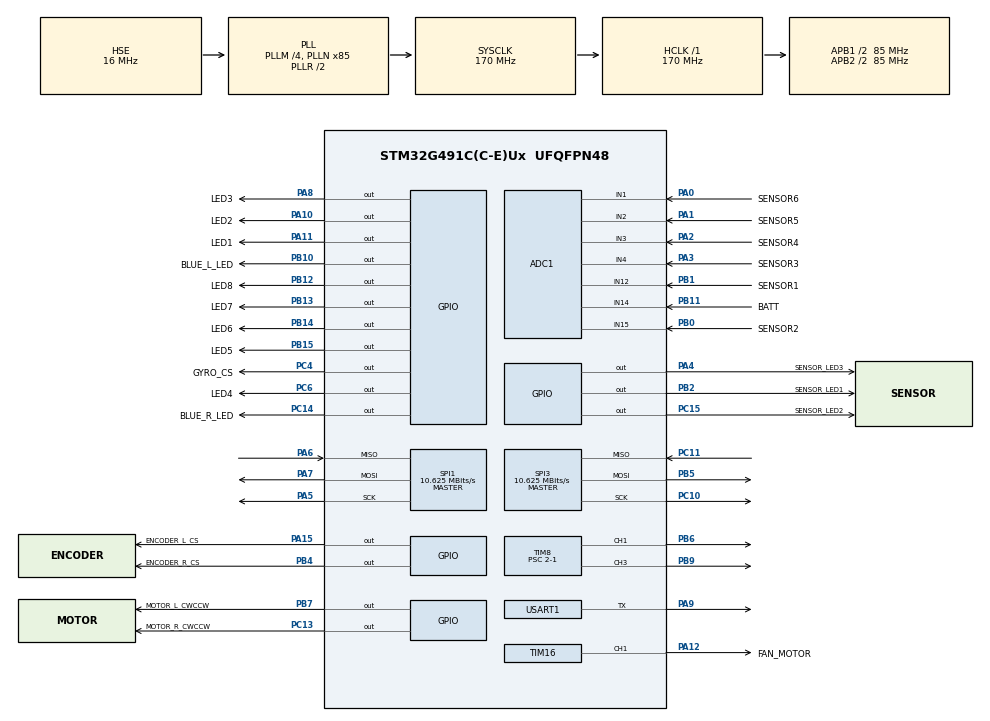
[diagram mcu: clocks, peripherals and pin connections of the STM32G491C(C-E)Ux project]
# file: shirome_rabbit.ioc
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ADC1.Channel-0\#ChannelRegularConversion=ADC_CHANNEL_14
ADC1.Channel-1\#ChannelRegularConversion=ADC_CHANNEL_12
ADC1.Channel-2\#ChannelRegularConversion=ADC_CHANNEL_15
ADC1.Channel-3\#ChannelRegularConversion=ADC_CHANNEL_4
ADC1.Channel-4\#ChannelRegularConversion=ADC_CHANNEL_3
ADC1.Channel-5\#ChannelRegularConversion=ADC_CHANNEL_2
ADC1.Channel-6\#ChannelRegularConversion=ADC_CHANNEL_1
ADC1.ClockPrescaler=ADC_CLOCK_SYNC_PCLK_DIV4
ADC1.ContinuousConvMode=ENABLE
ADC1.DMAContinuousRequests=ENABLE
ADC1.NbrOfConversion=7
ADC1.NbrOfConversionFlag=1
ADC1.OffsetNumber-0\#ChannelRegularConversion=ADC_OFFSET_NONE
ADC1.OffsetNumber-1\#ChannelRegularConversion=ADC_OFFSET_NONE
ADC1.OffsetNumber-2\#ChannelRegularConversion=ADC_OFFSET_NONE
ADC1.OffsetNumber-3\#ChannelRegularConversion=ADC_OFFSET_NONE
ADC1.OffsetNumber-4\#ChannelRegularConversion=ADC_OFFSET_NONE
ADC1.OffsetNumber-5\#ChannelRegularConversion=ADC_OFFSET_NONE
ADC1.OffsetNumber-6\#ChannelRegularConversion=ADC_OFFSET_NONE
ADC1.Rank-0\#ChannelRegularConversion=1
ADC1.Rank-1\#ChannelRegularConversion=2
ADC1.Rank-2\#ChannelRegularConversion=3
ADC1.Rank-3\#ChannelRegularConversion=4
ADC1.Rank-4\#ChannelRegularConversion=5
ADC1.Rank-5\#ChannelRegularConversion=6
ADC1.Rank-6\#ChannelRegularConversion=7
ADC1.SamplingTime-0\#ChannelRegularConversion=ADC_SAMPLETIME_6CYCLES_5
ADC1.SamplingTime-1\#ChannelRegularConversion=ADC_SAMPLETIME_6CYCLES_5
ADC1.SamplingTime-2\#ChannelRegularConversion=ADC_SAMPLETIME_6CYCLES_5
ADC1.SamplingTime-3\#ChannelRegularConversion=ADC_SAMPLETIME_6CYCLES_5
ADC1.SamplingTime-4\#ChannelRegularConversion=ADC_SAMPLETIME_6CYCLES_5
ADC1.SamplingTime-5\#ChannelRegularConversion=ADC_SAMPLETIME_6CYCLES_5
ADC1.SamplingTime-6\#ChannelRegularConversion=ADC_SAMPLETIME_6CYCLES_5
ADC1.master=1
Dma.ADC1.0.Direction=DMA_PERIPH_TO_MEMORY
Dma.ADC1.0.EventEnable=DISABLE
Dma.ADC1.0.Instance=DMA1_Channel1
Dma.ADC1.0.MemDataAlignment=DMA_MDATAALIGN_HALFWORD
Dma.ADC1.0.MemInc=DMA_MINC_ENABLE
Dma.ADC1.0.Mode=DMA_CIRCULAR
Dma.ADC1.0.PeriphDataAlignment=DMA_PDATAALIGN_HALFWORD
Dma.ADC1.0.PeriphInc=DMA_PINC_DISABLE
Dma.ADC1.0.Polarity=HAL_DMAMUX_REQ_GEN_RISING
Dma.ADC1.0.Priority=DMA_PRIORITY_HIGH
Dma.ADC1.0.RequestNumber=1
Dma.ADC1.0.SignalID=NONE
Dma.ADC1.0.SyncEnable=DISABLE
Dma.ADC1.0.SyncPolarity=HAL_DMAMUX_SYNC_NO_EVENT
Dma.ADC1.0.SyncRequestNumber=1
Dma.ADC1.0.SyncSignalID=NONE
Dma.Request0=ADC1
Mcu.Family=STM32G4
Mcu.Name=STM32G491C(C-E)Ux
Mcu.Package=UFQFPN48
NVIC.ADC1_2_IRQn=true\:0\:0\:false\:false\:true\:true\:true\:true
NVIC.DMA1_Channel1_IRQn=true\:0\:0\:false\:false\:true\:false\:true\:true
NVIC.PriorityGroup=NVIC_PRIORITYGROUP_4
NVIC.TIM6_DAC_IRQn=true\:3\:0\:true\:false\:true\:true\:true\:true
PA0.GPIO_Label=SENSOR6
PA0.Mode=IN1-Single-Ended
PA0.Signal=ADC1_IN1
PA1.GPIO_Label=SENSOR5
PA1.Mode=IN2-Single-Ended
PA1.Signal=ADC1_IN2
PA10.GPIO_Label=LED2
PA10.Signal=GPIO_Output
PA11.GPIO_Label=LED1
PA11.Signal=GPIO_Output
PA12.GPIO_Label=FAN_MOTOR
PA12.Signal=S_TIM16_CH1
PA13.Mode=Trace_Asynchronous_SW
PA13.Signal=SYS_JTMS-SWDIO
PA14.Mode=Trace_Asynchronous_SW
PA14.Signal=SYS_JTCK-SWCLK
PA15.GPIO_Label=ENCODER_L_CS
PA15.Signal=GPIO_Output
PA2.GPIO_Label=SENSOR4
PA2.Mode=IN3-Single-Ended
PA2.Signal=ADC1_IN3
PA3.GPIO_Label=SENSOR3
PA3.Mode=IN4-Single-Ended
PA3.Signal=ADC1_IN4
PA4.GPIO_Label=SENSOR_LED3
PA4.Signal=GPIO_Output
PA5.Mode=Full_Duplex_Master
PA5.Signal=SPI1_SCK
PA6.Mode=Full_Duplex_Master
PA6.Signal=SPI1_MISO
PA7.Mode=Full_Duplex_Master
PA7.Signal=SPI1_MOSI
PA8.GPIO_Label=LED3
PA8.Signal=GPIO_Output
PA9.Mode=Half_duplex(single_wire_mode)
PA9.Signal=USART1_TX
PB0.GPIO_Label=SENSOR2
PB0.Mode=IN15-Single-Ended
PB0.Signal=ADC1_IN15
PB1.GPIO_Label=SENSOR1
PB1.Mode=IN12-Single-Ended
PB1.Signal=ADC1_IN12
PB10.GPIO_Label=BLUE_L_LED
PB10.Signal=GPIO_Output
PB11.GPIO_Label=BATT
PB11.Mode=IN14-Single-Ended
PB11.Signal=ADC1_IN14
PB12.GPIO_Label=LED8
PB12.Signal=GPIO_Output
PB13.GPIO_Label=LED7
PB13.Signal=GPIO_Output
PB14.GPIO_Label=LED6
PB14.Signal=GPIO_Output
PB15.GPIO_Label=LED5
PB15.Signal=GPIO_Output
PB2.GPIO_Label=SENSOR_LED1
PB2.Signal=GPIO_Output
PB3.Mode=Trace_Asynchronous_SW
PB3.Signal=SYS_JTDO-SWO
PB4.GPIO_Label=ENCODER_R_CS
PB4.Signal=GPIO_Output
PB5.Mode=Full_Duplex_Master
PB5.Signal=SPI3_MOSI
PB6.Signal=S_TIM8_CH1
PB7.GPIO_Label=MOTOR_L_CWCCW
PB7.Signal=GPIO_Output
PB9.Signal=S_TIM8_CH3
PC10.Mode=Full_Duplex_Master
PC10.Signal=SPI3_SCK
PC11.Mode=Full_Duplex_Master
PC11.Signal=SPI3_MISO
PC13.GPIO_Label=MOTOR_R_CWCCW
PC13.Signal=GPIO_Output
PC14-OSC32_IN.GPIO_Label=BLUE_R_LED
PC14-OSC32_IN.Signal=GPIO_Output
PC15-OSC32_OUT.GPIO_Label=SENSOR_LED2
PC15-OSC32_OUT.Signal=GPIO_Output
PC4.GPIO_Label=GYRO_CS
PC4.Signal=GPIO_Output
PC6.GPIO_Label=LED4
PC6.Signal=GPIO_Output
PF0-OSC_IN.Mode=HSE-External-Oscillator
PF0-OSC_IN.Signal=RCC_OSC_IN
PF1-OSC_OUT.Mode=HSE-External-Oscillator
PF1-OSC_OUT.Signal=RCC_OSC_OUT
ProjectManager.HeapSize=0x200
ProjectManager.StackSize=0x400
ProjectManager.TargetToolchain=STM32CubeIDE
RCC.ADC12Freq_Value=170000000
RCC.ADC345Freq_Value=170000000
RCC.AHBFreq_Value=170000000
RCC.APB1CLKDivider=RCC_HCLK_DIV2
RCC.APB1Freq_Value=85000000
RCC.APB1TimFreq_Value=170000000
RCC.APB2CLKDivider=RCC_HCLK_DIV2
RCC.APB2Freq_Value=85000000
RCC.APB2TimFreq_Value=170000000
RCC.CortexFreq_Value=170000000
RCC.EXTERNAL_CLOCK_VALUE=12288000
RCC.HCLKFreq_Value=170000000
RCC.HSE_VALUE=16000000
RCC.HSI48_VALUE=48000000
RCC.HSI_VALUE=16000000
RCC.LSE_VALUE=32768
RCC.PLLM=RCC_PLLM_DIV4
RCC.PLLN=85
RCC.PLLSourceVirtual=RCC_PLLSOURCE_HSE
RCC.PREFETCH_ENABLE=1
RCC.SYSCLKFreq_VALUE=170000000
RCC.SYSCLKSource=RCC_SYSCLKSOURCE_PLLCLK
RCC.USBFreq_Value=48000000
RCC.VCOOutputFreq_Value=340000000
SH.S_TIM16_CH1.0=TIM16_CH1,PWM Generation1 CH1
SH.S_TIM8_CH1.0=TIM8_CH1,PWM Generation1 CH1
SH.S_TIM8_CH3.0=TIM8_CH3,PWM Generation3 CH3
SPI1.BaudRatePrescaler=SPI_BAUDRATEPRESCALER_8
SPI1.CLKPolarity=SPI_POLARITY_LOW
SPI1.CalculateBaudRate=10.625 MBits/s
SPI1.Direction=SPI_DIRECTION_2LINES
SPI1.Mode=SPI_MODE_MASTER
SPI1.VirtualType=VM_MASTER
SPI3.BaudRatePrescaler=SPI_BAUDRATEPRESCALER_8
SPI3.CLKPhase=SPI_PHASE_2EDGE
SPI3.CLKPolarity=SPI_POLARITY_LOW
SPI3.CalculateBaudRate=10.625 MBits/s
SPI3.Direction=SPI_DIRECTION_2LINES
SPI3.Mode=SPI_MODE_MASTER
SPI3.VirtualType=VM_MASTER
TIM16.Channel=TIM_CHANNEL_1
TIM16.PeriodNoDither=200
TIM16.Prescaler=2-1
TIM16.PulseNoDither_1=30
TIM6.PeriodNoDither=1000-1
TIM6.Prescaler=85-1
TIM8.Channel-PWM\ Generation1\ CH1=TIM_CHANNEL_1
TIM8.Channel-PWM\ Generation3\ CH3=TIM_CHANNEL_3
TIM8.PeriodNoDither=3360-1
TIM8.Prescaler=2-1
TIM8.PulseNoDither_1=420-1
TIM8.PulseNoDither_3=420-1
USART1.BaudRate=115200
USART1.Mode=MODE_TX
USART1.VirtualMode-Half_duplex(single_wire_mode)=VM_ASYNC
VP_SYS_VS_DBSignals.Mode=DisableDeadBatterySignals
VP_TIM16_VS_ClockSourceINT.Mode=Enable_Timer
VP_TIM6_VS_ClockSourceINT.Mode=Enable_Timer
board=custom

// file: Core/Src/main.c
/* USER CODE BEGIN Header */
/**
  ******************************************************************************
  * @file           : main.c
  * @brief          : Main program body
  ******************************************************************************
  * @attention
  *
  * Copyright (c) 2023 STMicroelectronics.
  * All rights reserved.
  *
  * This software is licensed under terms that can be found in the LICENSE file
  * in the root directory of this software component.
  * If no LICENSE file comes with this software, it is provided AS-IS.
  *
  ******************************************************************************
  */
/* USER CODE END Header */
#include "main.h"
#include "adc.h"
#include "dma.h"
#include "spi.h"
#include "tim.h"
#include "usart.h"
#include "gpio.h"

/* USER CODE BEGIN Includes */
#include <stdio.h>
#include <stdlib.h>
#include "PL_LED.h"
#include "PL_timer.h"
#include "PL_motor.h"
#include "PL_gyro.h"
#include "PL_sensor.h"
#include "PL_encoder.h"
#include "PL_flash.h"
#include "CL_EnoderGyro.h"
#include "CL_sensor.h"
#include "Control_motor.h"
#include "PID_EncoderGyro.h"
#include "PID_wall.h"
#include "record.h"
#include "mode_select.h"
#include "turning_parameter.h"
#include "maze_wall.h"
#include "fail_safe.h"

/* USER CODE END Includes */

void SystemClock_Config(void);

int main(void)
{

  /* MCU Configuration--------------------------------------------------------*/

  /* Reset of all peripherals, Initializes the Flash interface and the Systick. */
  HAL_Init();

  /* Configure the system clock */
  SystemClock_Config();

  /* USER CODE BEGIN SysInit */
  MX_DMA_Init();
  /* USER CODE END SysInit */

  /* Initialize all configured peripherals */
  MX_GPIO_Init();
  MX_DMA_Init();
  MX_SPI1_Init();
  MX_SPI3_Init();
  MX_TIM8_Init();
  MX_ADC1_Init();
  MX_USART1_UART_Init();
  MX_TIM16_Init();
  MX_TIM6_Init();
  /* USER CODE BEGIN 2 */
  pl_timer_init();
  pl_gyro_init();
  pl_encoder_init();
  pl_sensor_init();
  init_EncoderGyro();
  record_reset();
  pl_motor_init();
  PID_Init();
  init_WallControl();
  Control_mode_Init();
  init_FailSafe();
  input_parameter();
  maze_clear();

  		printf("ON_SEN1=%d,SEN2=%d,SEN3=%d,SEN4=%d,SEN5=%d,SEN6=%d\n",
  				g_sensor_on[0], g_sensor_on[1], g_sensor_on[2], g_sensor_on[3],
  				g_sensor_on[4], g_sensor_on[5]);
  		printf("OFF_SEN1=%d,SEN2=%d,SEN3=%d,SEN4=%d,SEN5=%d,SEN6=%d\n",
  				g_sensor_off[0], g_sensor_off[1], g_sensor_off[2],
  				g_sensor_off[3], g_sensor_off[4], g_sensor_off[5]);

	//起動cheak
		int yellow_count=1;
		for(int i=0;i<8;i++){
			pl_yellow_LED_count(yellow_count);
			HAL_Delay(50);
			yellow_count=yellow_count*2;
		}
		for(int i=0;i<9;i++){
				pl_yellow_LED_count(yellow_count);
				HAL_Delay(50);
				yellow_count=yellow_count/2;
		}
		main_mode=0;
		battcheak();
		printf("BATT=%f\n",g_V_battery_mean);
    printf("%d\n", rand());
    printf("%d\n", 4);

  /* USER CODE END 2 */

  /* Infinite loop */
  /* USER CODE BEGIN WHILE */
  while (1)
  {
	  battcheak();
	 // printf("%d\n", rand());
   HAL_GPIO_WritePin(SENSOR_LED2_GPIO_Port, SENSOR_LED2_Pin, GPIO_PIN_SET);
	  main_mode=mode_decision(main_mode);

		mode_execution(main_mode);

// failsafe
while(error_mode>=1 && angle_speedx <= 400){
  HAL_Delay(1);
}
HAL_Delay(1000);
record_mode=0;
		Control_mode_Init();
		init_WallControl();
		init_EncoderGyro();
    init_FailSafe();

//	  Batt=pl_getbatt();
//	  printf("BATT=%f\n", Batt);
//	printf("gyro x : %5.5f, y : %5.5f,z : %5.5f, accel x : %5.5f, y :%5.5f, z : %5.5f\n",
//						  			gyro.omega_x, gyro.omega_y, gyro.omega_z, gyro.accel_x,gyro.accel_y, gyro.accel_z);
//		printf("gyro x : %5.5f, y : %5.5f,z : %5.5f, angle z : %5.5f\n",
//								  			gyro.omega_x, gyro.omega_y, gyro.omega_z,yaw_angle);
//			printf("BATT=%d,SEN1=%d,SEN2=%d,SEN3=%d,SEN4=%d,SEN5=%d,SEN6=%d\n", g_ADCBuffer[0],
//					g_ADCBuffer[1], g_ADCBuffer[2], g_ADCBuffer[3], g_ADCBuffer[4], g_ADCBuffer[5], g_ADCBuffer[6]);
//		printf("ON_SEN1=%d,SEN2=%d,SEN3=%d,SEN4=%d,SEN5=%d,SEN6=%d\n",
//				g_sensor_on[0], g_sensor_on[1], g_sensor_on[2], g_sensor_on[3],
//				g_sensor_on[4], g_sensor_on[5]);
//		printf("OFF_SEN1=%d,SEN2=%d,SEN3=%d,SEN4=%d,SEN5=%d,SEN6=%d\n",
//				g_sensor_off[0], g_sensor_off[1], g_sensor_off[2],
//				g_sensor_off[3], g_sensor_off[4], g_sensor_off[5]);
// test ENCODER
//		printf("encoderR : %5.5f, encoderL : %5.5f\n", encoder_R,encoder_L);
//		printf("E_distance_R : %5.5f, E_distance_L : %5.5f\n", E_distanceR,E_distanceL);
//		if(g_sensor_on[1]>800 && g_sensor_on[4]>800){
//			reset_gyro();
//			reset_speed();
//			reset_distance();
//			clear_Ierror();
//			straight_table2(270, 0, 0, 300, 13000,mode);
//
//		}
//		if(g_sensor_on[0]>800 && g_sensor_on[5]>800){
////			 pl_DriveMotor_duty(600,600);
////			 pl_FunMotor_duty(0.5);
////			 pl_L_DriveMotor_mode(MOTOR_FRONT);
////			 pl_R_DriveMotor_mode(MOTOR_FRONT);
////			 pl_DriveMotor_duty(400,400);
////		//			HAL_TIM_PWM_Start(&htim16, TIM_CHANNEL_1);
////					HAL_TIM_PWM_Start(&htim8, TIM_CHANNEL_1);
////     				HAL_TIM_PWM_Start(&htim8, TIM_CHANNEL_3);
////					wait_ms(2000);
////					 pl_L_DriveMotor_mode(MOTOR_BACK);
////					 pl_R_DriveMotor_mode(MOTOR_BACK);
////					wait_ms(2000);
////					HAL_TIM_PWM_Stop(&htim16, TIM_CHANNEL_1);
////					HAL_TIM_PWM_Stop(&htim8, TIM_CHANNEL_1);
////					HAL_TIM_PWM_Stop(&htim8, TIM_CHANNEL_3);
//					reset_gyro();
//					reset_speed();
//					reset_distance();
//					clear_Ierror();
//					//straight_table2(540, 0, 0, 500, 13000,mode);
//					for(int i=0;i<3;i++){
//					turning_table2(90, 0, 0, 400, 3000);
//					}
//		}

    /* USER CODE END WHILE */

  }
}

void SystemClock_Config(void)
{
  RCC_OscInitTypeDef RCC_OscInitStruct = {0};
  RCC_ClkInitTypeDef RCC_ClkInitStruct = {0};

  /** Configure the main internal regulator output voltage
  */
  HAL_PWREx_ControlVoltageScaling(PWR_REGULATOR_VOLTAGE_SCALE1_BOOST);

  /** Initializes the RCC Oscillators according to the specified parameters
  * in the RCC_OscInitTypeDef structure.
  */
  RCC_OscInitStruct.OscillatorType = RCC_OSCILLATORTYPE_HSE;
  RCC_OscInitStruct.HSEState = RCC_HSE_ON;
  RCC_OscInitStruct.PLL.PLLState = RCC_PLL_ON;
  RCC_OscInitStruct.PLL.PLLSource = RCC_PLLSOURCE_HSE;
  RCC_OscInitStruct.PLL.PLLM = RCC_PLLM_DIV4;
  RCC_OscInitStruct.PLL.PLLN = 85;
  RCC_OscInitStruct.PLL.PLLP = RCC_PLLP_DIV2;
  RCC_OscInitStruct.PLL.PLLQ = RCC_PLLQ_DIV2;
  RCC_OscInitStruct.PLL.PLLR = RCC_PLLR_DIV2;
  if (HAL_RCC_OscConfig(&RCC_OscInitStruct) != HAL_OK)
  {
    Error_Handler();
  }

  /** Initializes the CPU, AHB and APB buses clocks
  */
  RCC_ClkInitStruct.ClockType = RCC_CLOCKTYPE_HCLK|RCC_CLOCKTYPE_SYSCLK
                              |RCC_CLOCKTYPE_PCLK1|RCC_CLOCKTYPE_PCLK2;
  RCC_ClkInitStruct.SYSCLKSource = RCC_SYSCLKSOURCE_PLLCLK;
  RCC_ClkInitStruct.AHBCLKDivider = RCC_SYSCLK_DIV1;
  RCC_ClkInitStruct.APB1CLKDivider = RCC_HCLK_DIV2;
  RCC_ClkInitStruct.APB2CLKDivider = RCC_HCLK_DIV2;

  if (HAL_RCC_ClockConfig(&RCC_ClkInitStruct, FLASH_LATENCY_4) != HAL_OK)
  {
    Error_Handler();
  }
}

void Error_Handler(void)
{
  __disable_irq();
  while (1)
  {
  }
}
